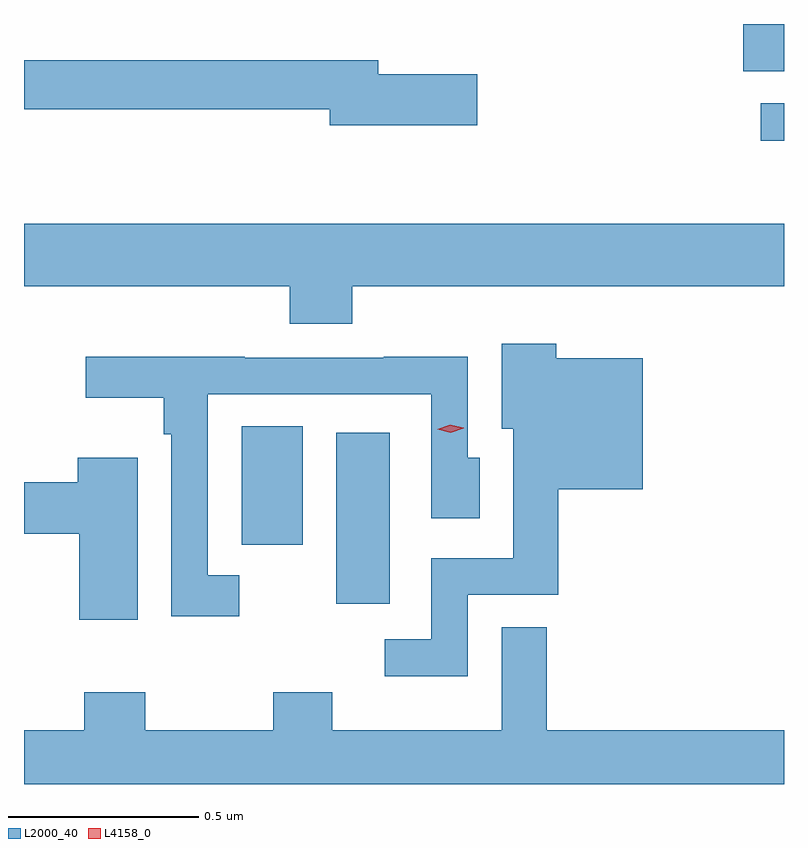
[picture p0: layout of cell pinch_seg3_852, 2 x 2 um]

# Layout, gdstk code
import gdstk
lib = gdstk.Library(unit=1e-6, precision=1e-09)
def R(c, l, rs):  # rectangles x0, y0, x1, y1
    for r in rs: c.add(gdstk.rectangle(r[:2], r[2:], *l))
def P(c, l, *ps):  # polygons
    for p in ps: c.add(gdstk.Polygon(p, *l))
L2000_40 = (2000, 40)
L4158_0 = (4158, 0)

pinch_seg3_852 = lib.new_cell('pinch_seg3_852')
R(pinch_seg3_852, L2000_40, [(706.598,736.044,706.738,736.495), (706.349,736.2,706.51,736.511), (707.715,737.263,707.776,737.361), (707.669,737.446,707.776,737.57)])
P(pinch_seg3_852, L2000_40, [(706.969,737.438),(706.708,737.438),(706.708,737.474),(705.776,737.474),(705.776,737.346),(706.58,737.346),(706.58,737.303),(706.969,737.303)],
  [(706.64,736.88),(707.776,736.88),(707.776,737.044),(705.776,737.044),(705.776,736.88),(706.475,736.88),(706.475,736.781),(706.64,736.781)],
  [(706.944,736.068),(707.182,736.068),(707.182,736.346),(707.404,736.346),(707.404,736.69),(707.177,736.69),(707.177,736.729),(707.033,736.729),(707.033,736.505),(707.063,736.505),(707.063,736.164),(706.848,736.164),(706.848,735.951),(706.725,735.951),(706.725,735.854),(706.944,735.854)],
  [(706.342,736.119),(706.26,736.119),(706.26,736.596),(706.848,736.596),(706.848,736.269),(706.975,736.269),(706.975,736.428),(706.944,736.428),(706.944,736.694),(706.723,736.694),(706.723,736.692),(706.357,736.692),(706.357,736.694),(705.939,736.694),(705.939,736.586),(706.144,736.586),(706.144,736.49),(706.164,736.49),(706.164,736.011),(706.342,736.011)],
  [(706.075,736.429),(705.917,736.429),(705.917,736.364),(705.776,736.364),(705.776,736.228),(705.922,736.228),(705.922,736.002),(706.075,736.002)],
  [(707.776,735.712),(707.152,735.712),(707.152,735.983),(707.033,735.983),(707.033,735.712),(706.587,735.712),(706.587,735.811),(706.432,735.811),(706.432,735.712),(706.095,735.712),(706.095,735.811),(705.935,735.811),(705.935,735.712),(705.776,735.712),(705.776,735.57),(707.776,735.57)])
P(pinch_seg3_852, L4158_0, [(706.899,736.495),(706.863,736.504),(706.863,736.504),(706.863,736.504),(706.898,736.515),(706.933,736.507),(706.933,736.506),(706.933,736.506)])

lib.write_gds('pinch_seg3_852.gds')
